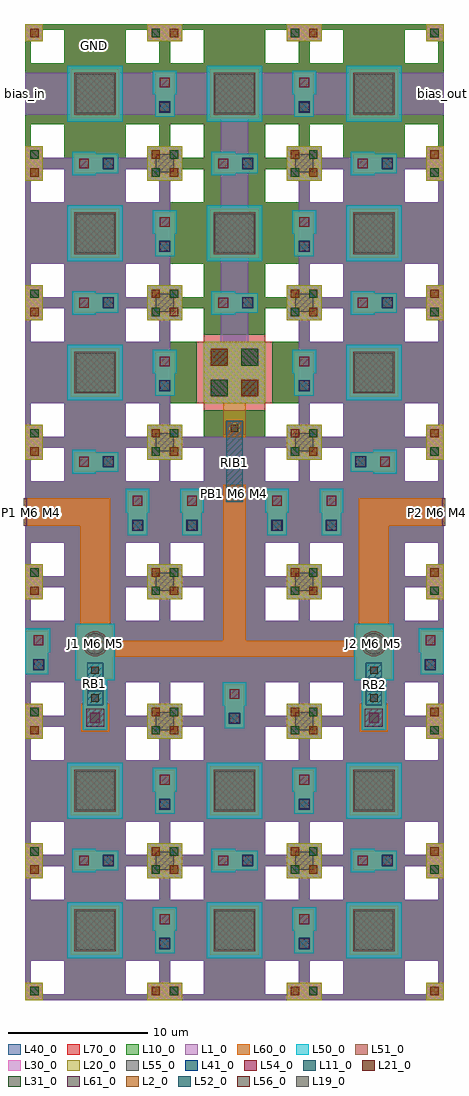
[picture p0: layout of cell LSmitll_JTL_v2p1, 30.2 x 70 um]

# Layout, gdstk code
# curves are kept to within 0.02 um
from math import pi, radians
import gdstk
lib = gdstk.Library(unit=1e-6, precision=1e-09)
def R(c, l, rs):  # rectangles x0, y0, x1, y1
    for r in rs: c.add(gdstk.rectangle(r[:2], r[2:], *l))
def P(c, l, *ps):  # polygons
    for p in ps: c.add(gdstk.Polygon(p, *l))
L1_0 = (1, 0)
L2_0 = (2, 0)
L10_0 = (10, 0)
L11_0 = (11, 0)
L19_0 = (19, 0)
L20_0 = (20, 0)
L21_0 = (21, 0)
L30_0 = (30, 0)
L31_0 = (31, 0)
L40_0 = (40, 0)
L41_0 = (41, 0)
L50_0 = (50, 0)
L51_0 = (51, 0)
L52_0 = (52, 0)
L54_0 = (54, 0)
L55_0 = (55, 0)
L56_0 = (56, 0)
L60_0 = (60, 0)
L61_0 = (61, 0)
L70_0 = (70, 0)

ls_tr_bias_pillar_m0m6 = lib.new_cell('ls_tr_bias_pillar_M0M6')
R(ls_tr_bias_pillar_m0m6, L1_0, [(0,0,1.25,1.25), (8.75,0,10,1.25), (2.8,2.8,7.2,7.2), (0,8.75,1.25,10), (8.75,8.75,10,10)])
R(ls_tr_bias_pillar_m0m6, L2_0, [(5.5,3.3,6.7,4.5), (3.3,5.5,4.5,6.7)])
R(ls_tr_bias_pillar_m0m6, L10_0, [(0,0,1.25,1.25), (8.75,0,10,1.25), (2.8,2.8,7.2,7.2), (0,8.75,1.25,10), (8.75,8.75,10,10)])
P(ls_tr_bias_pillar_m0m6, L10_0, [(0,0),(0,10),(7.2,10),(7.2,7.7),(2.8,7.7),(2.8,9.6),(1.25,9.6),(1.25,8.75),(0.4,8.75),(0.4,7.2),(2.3,7.2),(2.3,2.8),(0.4,2.8),(0.4,1.25),(1.25,1.25),(1.25,0.4),(2.8,0.4),(2.8,2.3),(7.2,2.3),(7.2,0.4),(8.75,0.4),(8.75,1.25),(9.6,1.25),(9.6,2.8),(7.7,2.8),(7.7,7.2),(9.6,7.2),(9.6,8.75),(8.75,8.75),(8.75,9.6),(7.2,9.6),(7.2,10),(10,10),(10,0)])
R(ls_tr_bias_pillar_m0m6, L11_0, [(0.35,0.35,0.95,0.95), (3.3,3.3,4.5,4.5), (5.5,5.5,6.7,6.7), (9.05,9.05,9.65,9.65)])
R(ls_tr_bias_pillar_m0m6, L20_0, [(0,0,1.25,1.25), (8.75,0,10,1.25), (2.8,2.8,7.2,7.2), (0,8.75,1.25,10), (8.75,8.75,10,10)])
R(ls_tr_bias_pillar_m0m6, L21_0, [(9.05,0.35,9.65,0.95), (5.5,3.3,6.7,4.5), (3.3,5.5,4.5,6.7), (0.35,9.05,0.95,9.65)])
R(ls_tr_bias_pillar_m0m6, L30_0, [(0,0,1.25,1.25), (8.75,0,10,1.25), (2.8,2.8,7.2,7.2), (0,8.75,1.25,10), (8.75,8.75,10,10)])
R(ls_tr_bias_pillar_m0m6, L31_0, [(0.35,0.35,0.95,0.95), (3.3,3.3,4.5,4.5), (5.5,5.5,6.7,6.7), (9.05,9.05,9.65,9.65)])
R(ls_tr_bias_pillar_m0m6, L40_0, [(2.8,2.8,7.2,7.2)])
P(ls_tr_bias_pillar_m0m6, L40_0, [(0,0),(0,10),(7.2,10),(7.2,7.7),(2.8,7.7),(2.8,9.6),(1.25,9.6),(1.25,8.75),(0.4,8.75),(0.4,7.2),(2.3,7.2),(2.3,2.8),(0.4,2.8),(0.4,1.25),(1.25,1.25),(1.25,0.4),(2.8,0.4),(2.8,2.3),(7.2,2.3),(7.2,0.4),(8.75,0.4),(8.75,1.25),(9.6,1.25),(9.6,2.8),(7.7,2.8),(7.7,7.2),(9.6,7.2),(9.6,8.75),(8.75,8.75),(8.75,9.6),(7.2,9.6),(7.2,10),(10,10),(10,0)])
R(ls_tr_bias_pillar_m0m6, L41_0, [(5.5,3.3,6.7,4.5), (3.3,5.5,4.5,6.7)])
R(ls_tr_bias_pillar_m0m6, L50_0, [(2.8,2.8,7.2,7.2)])
R(ls_tr_bias_pillar_m0m6, L54_0, [(3.3,3.3,4.5,4.5), (5.5,5.5,6.7,6.7)])
R(ls_tr_bias_pillar_m0m6, L60_0, [(2.8,2.8,7.2,7.2)])
P(ls_tr_bias_pillar_m0m6, L70_0, [(0,0),(0,10),(1.25,10),(1.25,8.75),(0.4,8.75),(0.4,1.25),(1.25,1.25),(1.25,0.4),(2.8,0.4),(2.8,2.8),(0.4,2.8),(0.4,7.2),(2.8,7.2),(2.8,9.6),(1.25,9.6),(1.25,10),(7.2,10),(7.2,0.4),(8.75,0.4),(8.75,1.25),(9.6,1.25),(9.6,2.8),(7.2,2.8),(7.2,7.2),(9.6,7.2),(9.6,8.75),(8.75,8.75),(8.75,9.6),(7.2,9.6),(7.2,10),(10,10),(10,0)])

ls_tr_m7 = lib.new_cell('ls_tr_M7')
P(ls_tr_m7, L70_0, [(0,0),(0,10),(1.25,10),(1.25,8.75),(0.4,8.75),(0.4,1.25),(1.25,1.25),(1.25,0.4),(2.8,0.4),(2.8,2.8),(0.4,2.8),(0.4,7.2),(2.8,7.2),(2.8,9.6),(1.25,9.6),(1.25,10),(7.2,10),(7.2,0.4),(8.75,0.4),(8.75,1.25),(9.6,1.25),(9.6,2.8),(7.2,2.8),(7.2,7.2),(9.6,7.2),(9.6,8.75),(8.75,8.75),(8.75,9.6),(7.2,9.6),(7.2,10),(10,10),(10,0)])

grouped_1 = lib.new_cell('grouped_1')
R(grouped_1, L10_0, [(1.25,0,8.75,0.4), (2.8,0.4,7.2,9.6), (0,1.25,0.4,8.75), (9.6,1.25,10,8.75), (0.4,2.8,2.8,7.2), (7.2,2.8,9.6,7.2), (1.25,9.6,8.75,10)])

ls_tr_u_m4_alt = lib.new_cell('ls_tr_u_M4_alt')
R(ls_tr_u_m4_alt, L1_0, [(0,0,1.25,1.25), (8.75,0,10,1.25), (0,8.75,1.25,10), (8.75,8.75,10,10)])
R(ls_tr_u_m4_alt, L2_0, [(9.05,0.35,9.65,0.95), (0.35,9.05,0.95,9.65)])
R(ls_tr_u_m4_alt, L10_0, [(0,0,1.25,1.25), (8.75,0,10,1.25), (0,8.75,1.25,10), (8.75,8.75,10,10)])
R(ls_tr_u_m4_alt, L11_0, [(0.35,0.35,0.95,0.95), (9.05,9.05,9.65,9.65)])
R(ls_tr_u_m4_alt, L20_0, [(0,0,1.25,1.25), (8.75,0,10,1.25), (0,8.75,1.25,10), (8.75,8.75,10,10)])
R(ls_tr_u_m4_alt, L21_0, [(9.05,0.35,9.65,0.95), (0.35,9.05,0.95,9.65)])
R(ls_tr_u_m4_alt, L30_0, [(0,0,1.25,1.25), (8.75,0,10,1.25), (0,8.75,1.25,10), (8.75,8.75,10,10)])
R(ls_tr_u_m4_alt, L31_0, [(0.35,0.35,0.95,0.95), (9.05,9.05,9.65,9.65)])
P(ls_tr_u_m4_alt, L40_0, [(0,0),(0,10),(1.25,10),(1.25,8.75),(0.4,8.75),(0.4,1.25),(1.25,1.25),(1.25,0.4),(2.8,0.4),(2.8,2.8),(0.4,2.8),(0.4,7.2),(2.8,7.2),(2.8,9.6),(1.25,9.6),(1.25,10),(7.2,10),(7.2,0.4),(8.75,0.4),(8.75,1.25),(9.6,1.25),(9.6,2.8),(7.2,2.8),(7.2,7.2),(9.6,7.2),(9.6,8.75),(8.75,8.75),(8.75,9.6),(7.2,9.6),(7.2,10),(10,10),(10,0)])
ls_tr_u_m4_alt.add(gdstk.Reference(ls_tr_m7, (0,0)))
ls_tr_u_m4_alt.add(gdstk.Reference(grouped_1, (0,0)))

ls_tr_m0 = lib.new_cell('ls_tr_M0')
P(ls_tr_m0, L1_0, [(0,0),(0,10),(1.25,10),(1.25,8.75),(0.4,8.75),(0.4,1.25),(1.25,1.25),(1.25,0.4),(2.8,0.4),(2.8,2.8),(0.4,2.8),(0.4,7.2),(2.8,7.2),(2.8,9.6),(1.25,9.6),(1.25,10),(7.2,10),(7.2,0.4),(8.75,0.4),(8.75,1.25),(9.6,1.25),(9.6,2.8),(7.2,2.8),(7.2,7.2),(9.6,7.2),(9.6,8.75),(8.75,8.75),(8.75,9.6),(7.2,9.6),(7.2,10),(10,10),(10,0)])

ls_conn_m4m5m6m7 = lib.new_cell('ls_conn_M4M5M6M7')
R(ls_conn_m4m5m6m7, L40_0, [(0,0,1.4,1.4)])
R(ls_conn_m4m5m6m7, L41_0, [(0.3,0.3,1.1,1.1)])
P(ls_conn_m4m5m6m7, L50_0, [(1.6,-0.15),(1.6,0),(0,0),(0,1.4),(1.6,1.4),(1.6,1.55),(3.3,1.55),(3.3,-0.15)])
R(ls_conn_m4m5m6m7, L54_0, [(2.1,0.35,2.8,1.05)])
R(ls_conn_m4m5m6m7, L60_0, [(0,0,3.15,1.4)])
R(ls_conn_m4m5m6m7, L61_0, [(0.35,0.35,1.05,1.05)])
R(ls_conn_m4m5m6m7, L70_0, [(0,0,1.4,1.4)])

ls_fakejj_3umx3um = lib.new_cell('ls_FakeJJ_3umx3um')
R(ls_fakejj_3umx3um, L40_0, [(-2,-2,2,2)])
R(ls_fakejj_3umx3um, L50_0, [(-2,-2,2,2)])
R(ls_fakejj_3umx3um, L51_0, [(-1.5,-1.5,1.5,1.5)])
R(ls_fakejj_3umx3um, L55_0, [(-1.4,-1.4,1.4,1.4)])
R(ls_fakejj_3umx3um, L60_0, [(-1.75,-1.75,1.75,1.75)])

ls_fakejj_1p5x1p5um = lib.new_cell('ls_FakeJJ_1p5x1p5um')
R(ls_fakejj_1p5x1p5um, L40_0, [(-1.25,-1.25,1.25,1.25)])
R(ls_fakejj_1p5x1p5um, L50_0, [(-1.25,-1.25,1.25,1.25)])
R(ls_fakejj_1p5x1p5um, L51_0, [(-0.75,-0.75,0.75,0.75)])
R(ls_fakejj_1p5x1p5um, L55_0, [(-0.65,-0.65,0.65,0.65)])
R(ls_fakejj_1p5x1p5um, L60_0, [(-1,-1,1,1)])

ls_ib_350 = lib.new_cell('ls_ib_350')
R(ls_ib_350, L52_0, [(-0.575,0,0.575,5.8)])
R(ls_ib_350, L56_0, [(-0.26,0.29,0.26,0.81), (-0.26,4.99,0.26,5.51)])
R(ls_ib_350, L60_0, [(-0.625,-0.1,0.625,1.175), (-0.625,4.625,0.625,5.9)])

ls_conn_m5m6m7 = lib.new_cell('ls_conn_M5M6M7')
R(ls_conn_m5m6m7, L50_0, [(-0.5,-0.5,1.2,1.2)])
R(ls_conn_m5m6m7, L54_0, [(0,0,0.7,0.7)])
R(ls_conn_m5m6m7, L60_0, [(-0.65,-0.65,1.35,1.35)])
R(ls_conn_m5m6m7, L61_0, [(-0.3,-0.3,1,1)])
R(ls_conn_m5m6m7, L70_0, [(-0.65,-0.65,1.35,1.35)])

ls_jj250sg = lib.new_cell('ls_jj250sg')
R(ls_jj250sg, L41_0, [(-0.5,2.4,0.5,3.4)])
R(ls_jj250sg, L50_0, [(-1.425,-1.425,1.425,2.625), (-0.875,2.625,0.875,6.175)])
P(ls_jj250sg, L51_0, [(0,-0.91),(-0.18,-0.895),(-0.35,-0.84),(-0.645,-0.645),(-0.84,-0.35),(-0.91,0),(-0.895,0.18),(-0.84,0.35),(-0.645,0.645),(-0.35,0.84),(-0.18,0.895),(0,0.91),(0.18,0.895),(0.35,0.84),(0.645,0.645),(0.84,0.35),(0.895,0.18),(0.91,0),(0.84,-0.35),(0.645,-0.645),(0.35,-0.84),(0.18,-0.895)])
R(ls_jj250sg, L52_0, [(-0.575,1.35,0.575,4.425)])
R(ls_jj250sg, L54_0, [(-0.35,4.95,0.35,5.65)])
P(ls_jj250sg, L55_0, [(0,-0.76),(-0.15,-0.75),(-0.29,-0.7),(-0.54,-0.54),(-0.7,-0.29),(-0.75,-0.15),(-0.76,0),(-0.75,0.15),(-0.7,0.29),(-0.54,0.54),(-0.29,0.7),(-0.15,0.75),(0,0.76),(0.15,0.75),(0.29,0.7),(0.54,0.54),(0.7,0.29),(0.75,0.15),(0.76,0),(0.75,-0.15),(0.7,-0.29),(0.54,-0.54),(0.29,-0.7),(0.15,-0.75)])
R(ls_jj250sg, L56_0, [(-0.26,1.64,0.26,2.16), (-0.26,3.63,0.26,4.15)])
R(ls_jj250sg, L60_0, [(-1.275,-1.275,1.275,2.525), (-0.725,3.25,0.725,6.025)])
ls_jj250sg.add(gdstk.Reference(ls_conn_m5m6m7, (-0.35,4.95)))

lsmitll_jtl_v2p1 = lib.new_cell('LSmitll_JTL_v2p1')
R(lsmitll_jtl_v2p1, L1_0, [(11.25,40,18.75,40.4), (10,41.25,10.4,58.75), (19.6,41.25,20,58.75), (1.25,60,8.75,60.4), (21.25,60,28.75,60.4)])
R(lsmitll_jtl_v2p1, L19_0, [(14.75,36.05,15.25,36.55)])
R(lsmitll_jtl_v2p1, L50_0, [(0,23.35,0.25,26.65), (29.75,23.35,30,26.65)])
R(lsmitll_jtl_v2p1, L60_0, [(0,23.35,0.25,26.5), (29.75,23.35,30,26.5)])
lsmitll_jtl_v2p1.add(gdstk.FlexPath([(5,36),(5,26.175)], 2.15, ends="flush", simple_path=True, layer=60, datatype=0))  # L60_0
lsmitll_jtl_v2p1.add(gdstk.FlexPath([(0,35),(4.05,35)], 2, ends="flush", simple_path=True, layer=60, datatype=0))  # L60_0
lsmitll_jtl_v2p1.add(gdstk.FlexPath([(15,25.55),(15,36.95)], 1.6, ends="flush", simple_path=True, layer=60, datatype=0))  # L60_0
lsmitll_jtl_v2p1.add(gdstk.FlexPath([(6.275,25.2),(23.725,25.2)], 1.15, ends="flush", simple_path=True, layer=60, datatype=0))  # L60_0
lsmitll_jtl_v2p1.add(gdstk.FlexPath([(25,36),(25,26.175)], 2.15, ends="flush", simple_path=True, layer=60, datatype=0))  # L60_0
lsmitll_jtl_v2p1.add(gdstk.FlexPath([(25.95,35),(30,35)], 2, ends="flush", simple_path=True, layer=60, datatype=0))  # L60_0
lsmitll_jtl_v2p1.add(gdstk.FlexPath([(15,45),(15,40.35)], 1.6, ends="flush", simple_path=True, layer=60, datatype=0))  # L60_0
lsmitll_jtl_v2p1.add(gdstk.FlexPath([(0,65),(30,65)], 3, ends="flush", simple_path=True, layer=1, datatype=0))  # L1_0
lsmitll_jtl_v2p1.add(gdstk.FlexPath([(15,45),(15,65)], 2, ends="flush", simple_path=True, layer=1, datatype=0))  # L1_0
lsmitll_jtl_v2p1.add(gdstk.FlexPath([(0,34),(0,36)], 0.2, ends="flush", simple_path=True, layer=19, datatype=0))  # L19_0
lsmitll_jtl_v2p1.add(gdstk.FlexPath([(30,34),(30,36)], 0.2, ends="flush", simple_path=True, layer=19, datatype=0))  # L19_0
lsmitll_jtl_v2p1.add(gdstk.Reference(ls_tr_bias_pillar_m0m6, (10,40)))
lsmitll_jtl_v2p1.add(gdstk.Reference(ls_tr_u_m4_alt, (10,50)))
lsmitll_jtl_v2p1.add(gdstk.Reference(ls_tr_m0, (20,0)))
lsmitll_jtl_v2p1.add(gdstk.Reference(ls_tr_m0, (10,0)))
lsmitll_jtl_v2p1.add(gdstk.Reference(ls_tr_m0, (0,0)))
lsmitll_jtl_v2p1.add(gdstk.Reference(ls_tr_u_m4_alt, (20,0)))
lsmitll_jtl_v2p1.add(gdstk.Reference(ls_tr_u_m4_alt, (10,0)))
lsmitll_jtl_v2p1.add(gdstk.Reference(ls_tr_u_m4_alt, (0,0)))
lsmitll_jtl_v2p1.add(gdstk.Reference(ls_conn_m4m5m6m7, (16.65,49.3), rotation=pi, x_reflection=True))
lsmitll_jtl_v2p1.add(gdstk.Reference(ls_conn_m4m5m6m7, (26.65,9.3), rotation=pi, x_reflection=True))
lsmitll_jtl_v2p1.add(gdstk.Reference(ls_conn_m4m5m6m7, (16.65,9.3), rotation=pi, x_reflection=True))
lsmitll_jtl_v2p1.add(gdstk.Reference(ls_conn_m4m5m6m7, (6.65,9.3), rotation=pi, x_reflection=True))
lsmitll_jtl_v2p1.add(gdstk.Reference(ls_fakejj_3umx3um, (25,5)))
lsmitll_jtl_v2p1.add(gdstk.Reference(ls_fakejj_3umx3um, (15,5)))
lsmitll_jtl_v2p1.add(gdstk.Reference(ls_fakejj_3umx3um, (5,5)))
lsmitll_jtl_v2p1.add(gdstk.Reference(ls_fakejj_1p5x1p5um, (10,10)))
lsmitll_jtl_v2p1.add(gdstk.Reference(ls_fakejj_1p5x1p5um, (20,10)))
lsmitll_jtl_v2p1.add(gdstk.Reference(ls_conn_m4m5m6m7, (10.7,3.35), rotation=pi/2))
lsmitll_jtl_v2p1.add(gdstk.Reference(ls_conn_m4m5m6m7, (20.7,3.35), rotation=pi/2))
lsmitll_jtl_v2p1.add(gdstk.Reference(ls_conn_m4m5m6m7, (10.7,53.35), rotation=pi/2))
lsmitll_jtl_v2p1.add(gdstk.Reference(ls_conn_m4m5m6m7, (20.7,53.35), rotation=pi/2))
lsmitll_jtl_v2p1.add(gdstk.Reference(ls_conn_m4m5m6m7, (20.7,43.35), rotation=pi/2))
lsmitll_jtl_v2p1.add(gdstk.Reference(ls_conn_m4m5m6m7, (10.7,43.35), rotation=pi/2))
lsmitll_jtl_v2p1.add(gdstk.Reference(ls_conn_m4m5m6m7, (10.7,63.35), rotation=pi/2))
lsmitll_jtl_v2p1.add(gdstk.Reference(ls_conn_m4m5m6m7, (20.7,63.35), rotation=pi/2))
lsmitll_jtl_v2p1.add(gdstk.Reference(ls_conn_m4m5m6m7, (20.7,13.35), rotation=pi/2))
lsmitll_jtl_v2p1.add(gdstk.Reference(ls_conn_m4m5m6m7, (10.7,13.35), rotation=pi/2))
lsmitll_jtl_v2p1.add(gdstk.Reference(ls_conn_m4m5m6m7, (6.65,59.3), rotation=pi, x_reflection=True))
lsmitll_jtl_v2p1.add(gdstk.Reference(ls_conn_m4m5m6m7, (16.65,59.3), rotation=pi, x_reflection=True))
lsmitll_jtl_v2p1.add(gdstk.Reference(ls_conn_m4m5m6m7, (26.65,59.3), rotation=pi, x_reflection=True))
lsmitll_jtl_v2p1.add(gdstk.Reference(ls_conn_m4m5m6m7, (26.65,49.3), rotation=pi, x_reflection=True))
lsmitll_jtl_v2p1.add(gdstk.Reference(ls_conn_m4m5m6m7, (26.65,49.3), rotation=pi, x_reflection=True))
lsmitll_jtl_v2p1.add(gdstk.Reference(ls_conn_m4m5m6m7, (6.65,49.3), rotation=pi, x_reflection=True))
lsmitll_jtl_v2p1.add(gdstk.Reference(ls_tr_u_m4_alt, (20,50)))
lsmitll_jtl_v2p1.add(gdstk.Reference(ls_tr_u_m4_alt, (0,50)))
lsmitll_jtl_v2p1.add(gdstk.Reference(ls_tr_u_m4_alt, (0,40)))
lsmitll_jtl_v2p1.add(gdstk.Reference(ls_tr_u_m4_alt, (20,40)))
lsmitll_jtl_v2p1.add(gdstk.Reference(ls_tr_u_m4_alt, (20,30)))
lsmitll_jtl_v2p1.add(gdstk.Reference(ls_tr_u_m4_alt, (10,30)))
lsmitll_jtl_v2p1.add(gdstk.Reference(ls_tr_u_m4_alt, (0,30)))
lsmitll_jtl_v2p1.add(gdstk.Reference(ls_tr_u_m4_alt, (0,20)))
lsmitll_jtl_v2p1.add(gdstk.Reference(ls_tr_u_m4_alt, (10,20)))
lsmitll_jtl_v2p1.add(gdstk.Reference(ls_tr_u_m4_alt, (20,20)))
lsmitll_jtl_v2p1.add(gdstk.Reference(ls_tr_u_m4_alt, (20,10)))
lsmitll_jtl_v2p1.add(gdstk.Reference(ls_tr_u_m4_alt, (10,10)))
lsmitll_jtl_v2p1.add(gdstk.Reference(ls_tr_u_m4_alt, (0,10)))
lsmitll_jtl_v2p1.add(gdstk.Reference(ls_conn_m4m5m6m7, (23.35,37.9)))
lsmitll_jtl_v2p1.add(gdstk.Reference(ls_conn_m4m5m6m7, (6.65,37.9), rotation=pi, x_reflection=True))
lsmitll_jtl_v2p1.add(gdstk.Reference(ls_conn_m4m5m6m7, (8.75,33.35), rotation=pi/2))
lsmitll_jtl_v2p1.add(gdstk.Reference(ls_ib_350, (15,35.75)))
lsmitll_jtl_v2p1.add(gdstk.Reference(ls_conn_m4m5m6m7, (12.65,33.35), rotation=pi/2))
lsmitll_jtl_v2p1.add(gdstk.Reference(ls_conn_m4m5m6m7, (18.75,33.35), rotation=pi/2))
lsmitll_jtl_v2p1.add(gdstk.Reference(ls_conn_m4m5m6m7, (22.65,33.35), rotation=pi/2))
lsmitll_jtl_v2p1.add(gdstk.Reference(ls_conn_m4m5m6m7, (29.75,23.35), rotation=pi/2))
lsmitll_jtl_v2p1.add(gdstk.Reference(ls_conn_m4m5m6m7, (1.65,23.35), rotation=pi/2))
lsmitll_jtl_v2p1.add(gdstk.Reference(ls_conn_m4m5m6m7, (15.7,19.5), rotation=pi/2))
lsmitll_jtl_v2p1.add(gdstk.Reference(ls_fakejj_1p5x1p5um, (10,30)))
lsmitll_jtl_v2p1.add(gdstk.Reference(ls_fakejj_1p5x1p5um, (20,30)))
lsmitll_jtl_v2p1.add(gdstk.Reference(ls_fakejj_1p5x1p5um, (20,20)))
lsmitll_jtl_v2p1.add(gdstk.Reference(ls_fakejj_1p5x1p5um, (10,20)))
lsmitll_jtl_v2p1.add(gdstk.Reference(ls_jj250sg, (5,25.55), x_reflection=True))
lsmitll_jtl_v2p1.add(gdstk.Reference(ls_jj250sg, (25,25.55), x_reflection=True))
lsmitll_jtl_v2p1.add(gdstk.Reference(ls_tr_u_m4_alt, (0,60)))
lsmitll_jtl_v2p1.add(gdstk.Reference(ls_tr_u_m4_alt, (10,60)))
lsmitll_jtl_v2p1.add(gdstk.Reference(ls_tr_u_m4_alt, (20,60)))
lsmitll_jtl_v2p1.add(gdstk.Reference(ls_fakejj_1p5x1p5um, (10,60)))
lsmitll_jtl_v2p1.add(gdstk.Reference(ls_fakejj_1p5x1p5um, (20,60)))
lsmitll_jtl_v2p1.add(gdstk.Reference(ls_fakejj_1p5x1p5um, (10,40)))
lsmitll_jtl_v2p1.add(gdstk.Reference(ls_fakejj_1p5x1p5um, (20,40)))
lsmitll_jtl_v2p1.add(gdstk.Reference(ls_fakejj_1p5x1p5um, (20,50)))
lsmitll_jtl_v2p1.add(gdstk.Reference(ls_fakejj_1p5x1p5um, (10,50)))
lsmitll_jtl_v2p1.add(gdstk.Reference(ls_fakejj_3umx3um, (5,55)))
lsmitll_jtl_v2p1.add(gdstk.Reference(ls_fakejj_3umx3um, (15,55)))
lsmitll_jtl_v2p1.add(gdstk.Reference(ls_fakejj_3umx3um, (25,55)))
lsmitll_jtl_v2p1.add(gdstk.Reference(ls_fakejj_3umx3um, (25,45)))
lsmitll_jtl_v2p1.add(gdstk.Reference(ls_fakejj_3umx3um, (5,45)))
lsmitll_jtl_v2p1.add(gdstk.Reference(ls_fakejj_3umx3um, (5,15)))
lsmitll_jtl_v2p1.add(gdstk.Reference(ls_fakejj_3umx3um, (15,15)))
lsmitll_jtl_v2p1.add(gdstk.Reference(ls_fakejj_3umx3um, (25,15)))
lsmitll_jtl_v2p1.add(gdstk.Reference(ls_fakejj_3umx3um, (25,65)))
lsmitll_jtl_v2p1.add(gdstk.Reference(ls_fakejj_3umx3um, (15,65)))
lsmitll_jtl_v2p1.add(gdstk.Reference(ls_fakejj_3umx3um, (5,65)))
lsmitll_jtl_v2p1.add(gdstk.Reference(ls_tr_m0, (0,10)))
lsmitll_jtl_v2p1.add(gdstk.Reference(ls_tr_m0, (10,10)))
lsmitll_jtl_v2p1.add(gdstk.Reference(ls_tr_m0, (20,10)))
lsmitll_jtl_v2p1.add(gdstk.Reference(ls_tr_m0, (20,20)))
lsmitll_jtl_v2p1.add(gdstk.Reference(ls_tr_m0, (10,20)))
lsmitll_jtl_v2p1.add(gdstk.Reference(ls_tr_m0, (0,20)))
lsmitll_jtl_v2p1.add(gdstk.Reference(ls_tr_m0, (0,30)))
lsmitll_jtl_v2p1.add(gdstk.Reference(ls_tr_m0, (10,30)))
lsmitll_jtl_v2p1.add(gdstk.Reference(ls_tr_m0, (20,30)))
lsmitll_jtl_v2p1.add(gdstk.Reference(ls_tr_m0, (20,40)))
lsmitll_jtl_v2p1.add(gdstk.Reference(ls_tr_m0, (0,40)))
lsmitll_jtl_v2p1.add(gdstk.Reference(ls_tr_m0, (0,50)))
lsmitll_jtl_v2p1.add(gdstk.Reference(ls_tr_m0, (20,50)))
lsmitll_jtl_v2p1.add(gdstk.Label('P1 M6 M4', (0,35), layer=182, texttype=0))
lsmitll_jtl_v2p1.add(gdstk.Label('P2 M6 M4', (30,35), layer=182, texttype=0))
lsmitll_jtl_v2p1.add(gdstk.Label('PB1 M6 M4', (15,36.325), layer=182, texttype=0))
lsmitll_jtl_v2p1.add(gdstk.Label('J1 M6 M5', (5,25.55), layer=182, texttype=0))
lsmitll_jtl_v2p1.add(gdstk.Label('J2 M6 M5', (25,25.55), layer=182, texttype=0))
lsmitll_jtl_v2p1.add(gdstk.Label('a', (0,35), layer=182, texttype=0))
lsmitll_jtl_v2p1.add(gdstk.Label('Q', (30,35), layer=182, texttype=0))
lsmitll_jtl_v2p1.add(gdstk.Label('bias_in', (0,65), layer=182, texttype=0))
lsmitll_jtl_v2p1.add(gdstk.Label('bias_out', (30,65), layer=182, texttype=0))
lsmitll_jtl_v2p1.add(gdstk.Label('VDD', (1.325,65), layer=1, texttype=1))
lsmitll_jtl_v2p1.add(gdstk.Label('GND', (4.975,68.425), layer=40, texttype=1))
lsmitll_jtl_v2p1.add(gdstk.Label('RB1', (4.975,22.675), layer=52, texttype=1))
lsmitll_jtl_v2p1.add(gdstk.Label('RB2', (25.025,22.65), layer=52, texttype=1))
lsmitll_jtl_v2p1.add(gdstk.Label('RIB1', (14.975,38.575), layer=52, texttype=1))
lsmitll_jtl_v2p1.add(gdstk.Label('a', (0.05,34.1), layer=60, texttype=1))
lsmitll_jtl_v2p1.add(gdstk.Label('q', (29.95,34.1), layer=60, texttype=1))

lib.write_gds('LSmitll_JTL_v2p1.gds')
